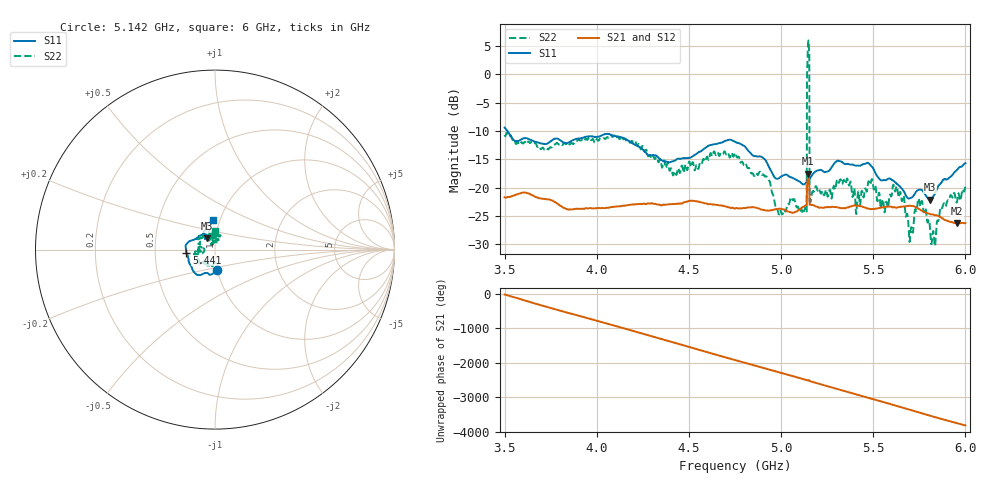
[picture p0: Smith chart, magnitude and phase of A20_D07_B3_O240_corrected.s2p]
! Created with skrf 1.9.0 (http://scikit-rf.org).
# Hz S RI R 50.0
!freq ReS11 ImS11 ReS21 ImS21 ReS12 ImS12 ReS22 ImS22
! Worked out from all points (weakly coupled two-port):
!   1601 points, 3.5 GHz to 6 GHz, reference 50 ohm
!   highest |S21| = -17.52 dB at 5.147 GHz (marker M1); lowest = -26.3 dB at 5.955 GHz (marker M2)
!   lowest |S11| = -22.1 dB at 5.808 GHz (marker M3), VSWR 1.17, Z = 45.3 + j5.79 ohm
!   |S11| at or under -10 dB: 3.515 GHz to end of sweep
!   |S22| runs from -30.3 to 6.0 dB; largest |S21 - S12| = 0.0012
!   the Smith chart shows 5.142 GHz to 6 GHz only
!   S11 on the Smith chart (normalised r, x): 5.142 GHz: 1.00, -0.23; 5.441 GHz: 0.73, -0.02; 6 GHz: 0.93, +0.31
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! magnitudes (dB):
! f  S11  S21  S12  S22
! 3.5 GHz  -9.4  -21.7  -21.7  -10.7
! 3.917 GHz  -11.3  -23.8  -23.7  -11.6
! 4.334 GHz  -14.7  -23.0  -23.0  -15.5
! 4.423 GHz  -15.2  -22.9  -22.9  -17.1
! 4.75 GHz  -11.9  -23.7  -23.6  -13.9
! 4.928 GHz  -15.9  -24.0  -24.0  -18.5
! 4.994 GHz  -18.2  -23.7  -23.7  -24.2
! 5.127 GHz  -19.4  -23.3  -23.3  -23.9
! 5.142 GHz  -18.9  -19.3  -19.2  1.2
! 5.147 GHz  -18.7  -17.5  -17.5  5.7
! 5.153 GHz  -18.5  -19.7  -19.7  3.4
! 5.167 GHz  -17.8  -23.1  -23.0  -21.1
! 5.314 GHz  -15.3  -23.5  -23.5  -19.1
! 5.441 GHz  -15.9  -23.4  -23.3  -20.7
! 5.484 GHz  -16.0  -23.8  -23.7  -19.4
! 5.584 GHz  -18.4  -23.3  -23.3  -22.5
! 5.656 GHz  -20.2  -23.4  -23.3  -22.4
! 5.705 GHz  -21.8  -23.2  -23.2  -27.2
! 5.755 GHz  -20.3  -23.9  -23.9  -23.2
! 5.808 GHz  -22.1  -24.7  -24.6  -27.2
! 5.955 GHz  -16.9  -26.3  -26.3  -22.4
! 6 GHz  -15.7  -26.3  -26.2  -19.8
